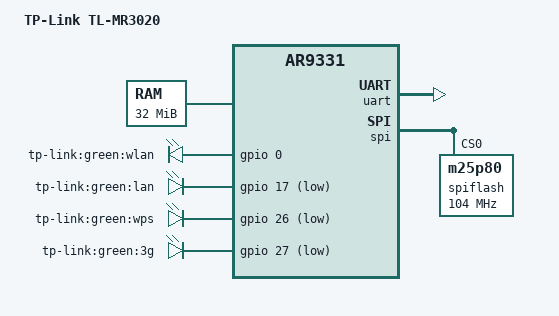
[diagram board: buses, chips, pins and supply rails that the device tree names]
/dts-v1/;

#include "ar9331.dtsi"
#include <dt-bindings/gpio/gpio.h>

/ {
	model = "TP-Link TL-MR3020";
	compatible = "tplink,tl-mr3020";

	aliases {
		serial0 = &uart;
	};

	memory@0 {
		device_type = "memory";
		reg = <0x0 0x2000000>;
	};

	leds {
		compatible = "gpio-leds";

		wlan {
			label = "tp-link:green:wlan";
			gpios = <&gpio 0 GPIO_ACTIVE_HIGH>;
			default-state = "off";
		};

		lan {
			label = "tp-link:green:lan";
			gpios = <&gpio 17 GPIO_ACTIVE_LOW>;
			default-state = "off";
		};

		wps {
			label = "tp-link:green:wps";
			gpios = <&gpio 26 GPIO_ACTIVE_LOW>;
			default-state = "off";
		};

		led3g {
			label = "tp-link:green:3g";
			gpios = <&gpio 27 GPIO_ACTIVE_LOW>;
			default-state = "off";
		};
	};
};

&uart {
	status = "okay";
};

&gpio {
	status = "okay";
};

&spi {
	num-chipselects = <1>;
	status = "okay";

	/* Spansion S25FL032PIF SPI flash */
	spiflash: m25p80@0 {
		#address-cells = <1>;
		#size-cells = <1>;
		compatible = "m25p80";
		spi-max-frequency = <104000000>;
		reg = <0>;
	};
};
